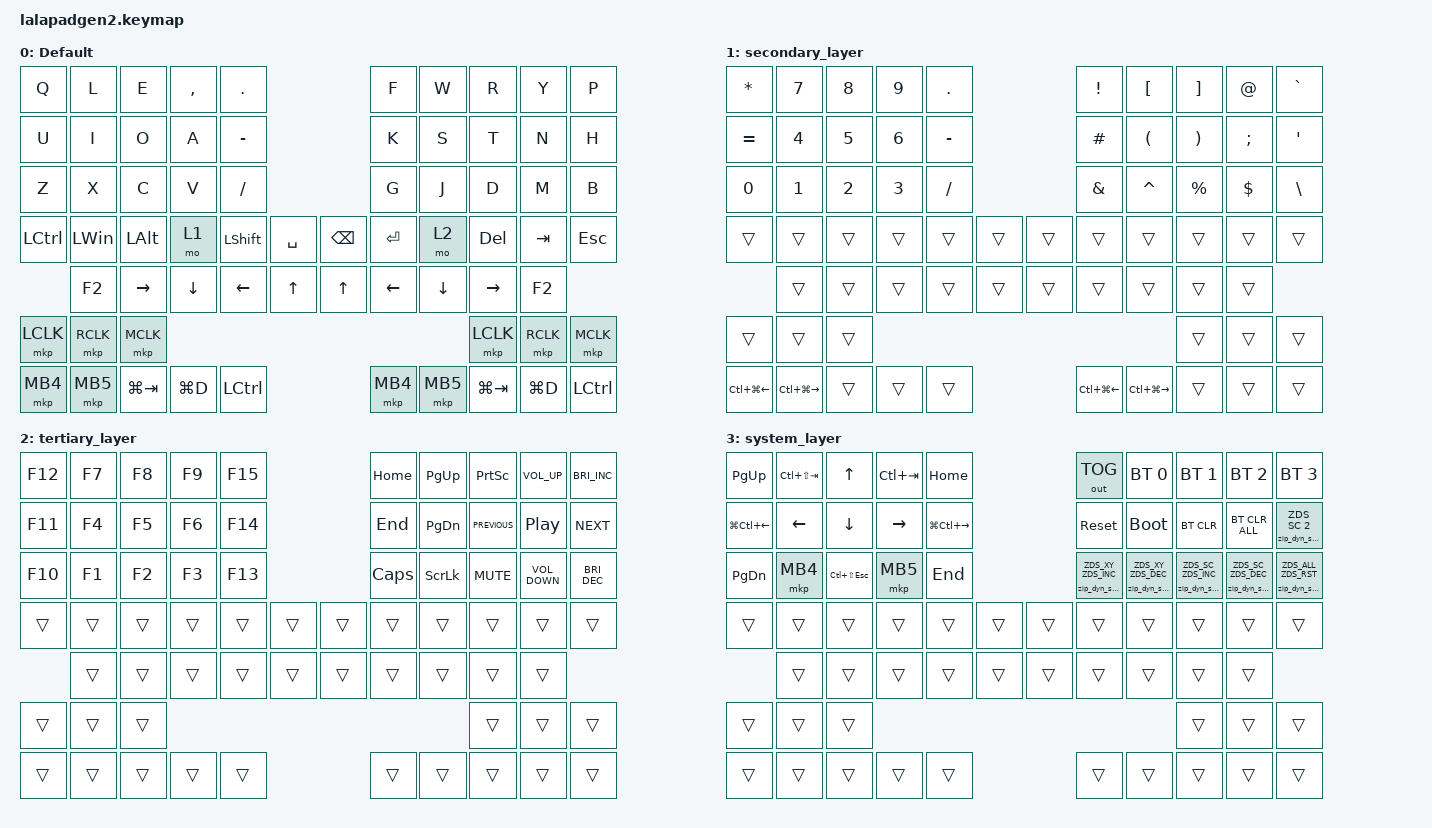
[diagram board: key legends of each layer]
#include <input/processors.dtsi>
#include <dt-bindings/zmk/zip_dynamic_scale.h>
#include <behaviors.dtsi>
#include <dt-bindings/zmk/bt.h>
#include <dt-bindings/zmk/keys.h>
#include <dt-bindings/zmk/outputs.h>
#include <dt-bindings/zmk/pointing.h>

#define DEFAULT_LAYER   0
#define SECONDARY_LAYER 1
#define TERTIARY_LAYER  2
#define SYSTEM_LAYER    3

&mt { quick-tap-ms = <200>; };

&lt { quick-tap-ms = <200>; };

/ {
    behaviors {
        zip_dyn_scale: zip_dyn_scale {
            compatible = "zmk,behavior-zip-dynamic-scale";
            #binding-cells = <2>;
        };

        zip_dyn_scale_set: zip_dyn_scale_set {
            compatible = "zmk,behavior-zip-dynamic-scale-set";
            #binding-cells = <2>;
        };

        mt2: mod_tap2 {
            compatible = "zmk,behavior-hold-tap";
            #binding-cells = <2>;
            flavor = "tap-preferred";
            tapping-term-ms = <200>;
            quick-tap-ms = <200>;
            require-prior-idle-ms = <125>;
            bindings = <&kp>, <&kp>;
        };

        tap_dance_layer_1and2: tap_dance_layer_1and2 {
            compatible = "zmk,behavior-tap-dance";
            label = "td_mo12";
            #binding-cells = <0>;
            bindings = <&mo 1>, <&mo 2>;
        };
    };

    combos { compatible = "zmk,combos"; };

    keymap {
        compatible = "zmk,keymap";

        DEFAULT_LAYER {
            display-name = "Default";
            bindings = <
&kp Q      &kp L      &kp E         &kp COMMA  &kp PERIOD                                &kp F      &kp W     &kp R        &kp Y      &kp P
&kp U      &kp I      &kp O         &kp A      &kp MINUS                                 &kp K      &kp S     &kp T        &kp N      &kp H
&kp Z      &kp X      &kp C         &kp V      &kp SLASH                                 &kp G      &kp J     &kp D        &kp M      &kp B
&kp LCTRL  &kp LWIN   &kp LEFT_ALT  &mo 1      &kp LEFT_SHIFT  &kp SPACE  &kp BACKSPACE  &kp ENTER  &mo 2     &kp DELETE   &kp TAB    &kp ESCAPE
           &kp F2     &kp RIGHT     &kp DOWN   &kp LEFT        &kp UP     &kp UP         &kp LEFT   &kp DOWN  &kp RIGHT    &kp F2
&mkp LCLK  &mkp RCLK  &mkp MCLK                                                                               &mkp LCLK    &mkp RCLK  &mkp MCLK
&mkp MB4   &mkp MB5   &kp LG(TAB)   &kp LG(D)  &kp LCTRL                                 &mkp MB4   &mkp MB5  &kp LG(TAB)  &kp LG(D)  &kp LCTRL
            >;
        };

        SECONDARY_LAYER {
            display-name = "secondary_layer";
            bindings = <
&kp ASTERISK      &kp NUMBER_7       &kp NUMBER_8  &kp NUMBER_9  &kp DOT                    &kp EXCLAMATION   &kp LEFT_BRACKET      &kp RIGHT_BRACKET      &kp AT_SIGN  &kp GRAVE
&kp EQUAL         &kp NUMBER_4       &kp NUMBER_5  &kp NUMBER_6  &kp MINUS                  &kp HASH          &kp LEFT_PARENTHESIS  &kp RIGHT_PARENTHESIS  &kp SEMI     &kp SINGLE_QUOTE
&kp NUMBER_0      &kp NUMBER_1       &kp NUMBER_2  &kp NUMBER_3  &kp SLASH                  &kp AMPERSAND     &kp CARET             &kp PERCENT            &kp DOLLAR   &kp BACKSLASH
&trans            &trans             &trans        &trans        &trans     &trans  &trans  &trans            &trans                &trans                 &trans       &trans
                  &trans             &trans        &trans        &trans     &trans  &trans  &trans            &trans                &trans                 &trans
&trans            &trans             &trans                                                                                         &trans                 &trans       &trans
&kp LC(LG(LEFT))  &kp LC(LG(RIGHT))  &trans        &trans        &trans                     &kp LC(LG(LEFT))  &kp LC(LG(RIGHT))     &trans                 &trans       &trans
            >;
        };

        TERTIARY_LAYER {
            display-name = "tertiary_layer";
            bindings = <
&kp F12  &kp F7  &kp F8  &kp F9  &kp F15                  &kp HOME      &kp PAGE_UP     &kp PRINTSCREEN  &kp C_VOLUME_UP    &kp C_BRIGHTNESS_INC
&kp F11  &kp F4  &kp F5  &kp F6  &kp F14                  &kp END       &kp PAGE_DOWN   &kp C_PREVIOUS   &kp C_PLAY_PAUSE   &kp C_NEXT
&kp F10  &kp F1  &kp F2  &kp F3  &kp F13                  &kp CAPSLOCK  &kp SCROLLLOCK  &kp C_MUTE       &kp C_VOLUME_DOWN  &kp C_BRIGHTNESS_DEC
&trans   &trans  &trans  &trans  &trans   &trans  &trans  &trans        &trans          &trans           &trans             &trans
         &trans  &trans  &trans  &trans   &trans  &trans  &trans        &trans          &trans           &trans
&trans   &trans  &trans                                                                 &trans           &trans             &trans
&trans   &trans  &trans  &trans  &trans                   &trans        &trans          &trans           &trans             &trans
            >;
        };

        SYSTEM_LAYER {
            display-name = "system_layer";
            bindings = <
&kp PAGE_UP             &kp LC(LS(TAB))  &kp UP_ARROW        &kp LC(TAB)      &kp HOME                                 &out OUT_TOG                   &bt BT_SEL 0                   &bt BT_SEL 1                   &bt BT_SEL 2                   &bt BT_SEL 3
&kp LG(LC(LEFT_ARROW))  &kp LEFT_ARROW   &kp DOWN_ARROW      &kp RIGHT_ARROW  &kp LG(LC(RIGHT_ARROW))                  &sys_reset                     &bootloader                    &bt BT_CLR                     &bt BT_CLR_ALL                 &zip_dyn_scale_set ZDS_SC 2
&kp PAGE_DOWN           &mkp MB4         &kp LC(LS(ESCAPE))  &mkp MB5         &kp END                                  &zip_dyn_scale ZDS_XY ZDS_INC  &zip_dyn_scale ZDS_XY ZDS_DEC  &zip_dyn_scale ZDS_SC ZDS_INC  &zip_dyn_scale ZDS_SC ZDS_DEC  &zip_dyn_scale ZDS_ALL ZDS_RST
&trans                  &trans           &trans              &trans           &trans                   &trans  &trans  &trans                         &trans                         &trans                         &trans                         &trans
                        &trans           &trans              &trans           &trans                   &trans  &trans  &trans                         &trans                         &trans                         &trans
&trans                  &trans           &trans                                                                                                                                      &trans                         &trans                         &trans
&trans                  &trans           &trans              &trans           &trans                                   &trans                         &trans                         &trans                         &trans                         &trans
            >;
        };
    };

    conditional_layers {
        compatible = "zmk,conditional-layers";

        Cond_Syslayer {
            if-layers = <1 2>;
            then-layer = <3>;
        };
    };
};
